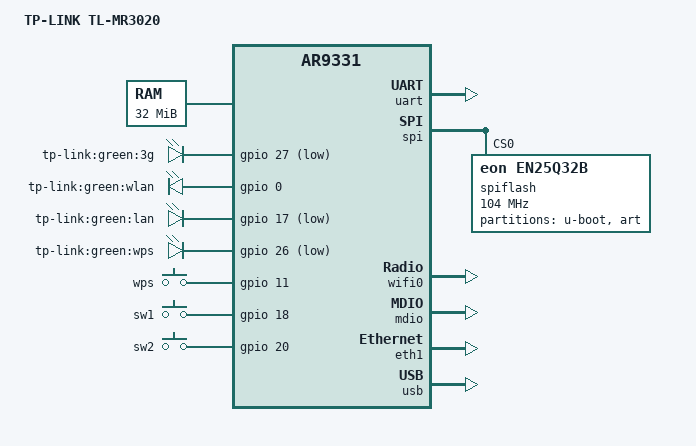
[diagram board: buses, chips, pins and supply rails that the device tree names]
/dts-v1/;

#include <dt-bindings/gpio/gpio.h>
#include <dt-bindings/input/input.h>

#include "ar9331.dtsi"

/ {
	model = "TP-LINK TL-MR3020";
	compatible = "tplink,tl-mr3020";

	aliases {
		serial0 = &uart;
	};

	chosen {
		bootargs = "machtype=DTB console=ttyATH0,115200";
	};

	memory@0 {
		device_type = "memory";
		reg = <0x0 0x2000000>;
	};

	leds {
		compatible = "gpio-leds";

		threeg {
			label = "tp-link:green:3g";
			gpios = <&gpio 27 GPIO_ACTIVE_LOW>;
			default-state = "off";
		};

		wlan {
			label = "tp-link:green:wlan";
			gpios = <&gpio 0 GPIO_ACTIVE_HIGH>;
			default-state = "off";
		};

		lan {
			label = "tp-link:green:lan";
			gpios = <&gpio 17 GPIO_ACTIVE_LOW>;
			default-state = "off";
		};

		wps {
			label = "tp-link:green:wps";
			gpios = <&gpio 26 GPIO_ACTIVE_LOW>;
			default-state = "off";
		};
	};

	gpio-keys-polled {
		compatible = "gpio-keys-polled";
		#address-cells = <1>;
		#size-cells = <0>;
		poll-interval = <20>;

		button@0 {
			label = "wps";
			linux,code = <KEY_WPS_BUTTON>;
			gpios = <&gpio 11 GPIO_ACTIVE_HIGH>;
		};

		button@1 {
			label = "sw1";
			linux,code = <BTN_0>;
			gpios = <&gpio 18 GPIO_ACTIVE_HIGH>;
		};

		button@2 {
			label = "sw2";
			linux,code = <BTN_1>;
			gpios = <&gpio 20 GPIO_ACTIVE_HIGH>;
		};
	};
};

&ref {
	clock-frequency = <25000000>;
};

&uart {
	status = "okay";
};

&gpio {
	status = "okay";
};

&spi {
	num-chipselects = <1>;
	status = "okay";

	/* EON EN25Q32B SPI flash */
	spiflash: en25q32b@0 {
		#address-cells = <1>;
		#size-cells = <1>;
		compatible = "eon,en25q32b", "jedec,spi-nor";
		spi-max-frequency = <104000000>;
		reg = <0>;

		linux,part-probe = "tp-link";

		part_uboot: partition@0 {
			label = "u-boot";
		};

		part_art: partition@3f0000 {
			label = "art";
		};
	};
};

&wifi0 {
	status = "okay";
	mtd-eeprom = <&part_art 0x1000>;
	mtd-mac-address = <&part_uboot 0x1fc00>;
};

&mdio {
	status = "okay";
	phy-mask = <0x00>;
};

&eth1 {
	status = "okay";
	mtd-mac-address = <&part_uboot 0x1fc00>;
	ath79-physwap;
};

&usb {
	status = "okay";
};

/*&usb_phy {
	status = "okay";
}*/

